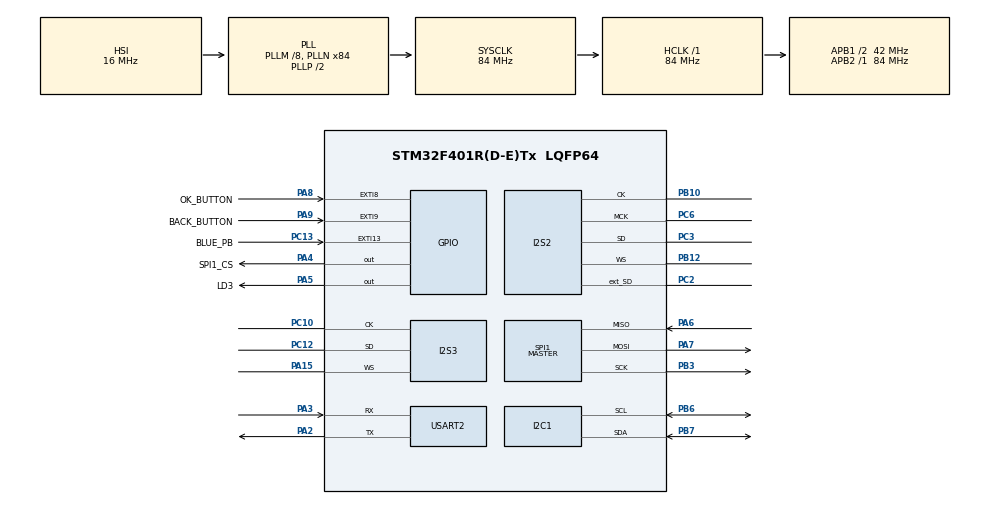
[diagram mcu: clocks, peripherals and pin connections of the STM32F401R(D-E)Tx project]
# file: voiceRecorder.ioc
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Dma.Request0=SPI2_TX
Dma.Request1=SPI3_RX
Dma.SPI2_TX.0.Direction=DMA_MEMORY_TO_PERIPH
Dma.SPI2_TX.0.FIFOMode=DMA_FIFOMODE_DISABLE
Dma.SPI2_TX.0.Instance=DMA1_Stream4
Dma.SPI2_TX.0.MemDataAlignment=DMA_MDATAALIGN_HALFWORD
Dma.SPI2_TX.0.MemInc=DMA_MINC_ENABLE
Dma.SPI2_TX.0.Mode=DMA_CIRCULAR
Dma.SPI2_TX.0.PeriphDataAlignment=DMA_PDATAALIGN_HALFWORD
Dma.SPI2_TX.0.PeriphInc=DMA_PINC_DISABLE
Dma.SPI2_TX.0.Priority=DMA_PRIORITY_LOW
Dma.SPI3_RX.1.Direction=DMA_PERIPH_TO_MEMORY
Dma.SPI3_RX.1.FIFOMode=DMA_FIFOMODE_DISABLE
Dma.SPI3_RX.1.Instance=DMA1_Stream0
Dma.SPI3_RX.1.MemDataAlignment=DMA_MDATAALIGN_HALFWORD
Dma.SPI3_RX.1.MemInc=DMA_MINC_ENABLE
Dma.SPI3_RX.1.Mode=DMA_CIRCULAR
Dma.SPI3_RX.1.PeriphDataAlignment=DMA_PDATAALIGN_HALFWORD
Dma.SPI3_RX.1.PeriphInc=DMA_PINC_DISABLE
Dma.SPI3_RX.1.Priority=DMA_PRIORITY_LOW
I2S2.AudioFreq=I2S_AUDIOFREQ_16K
I2S2.ErrorAudioFreq=1.9 %
I2S2.FullDuplexMode=I2S_FULLDUPLEXMODE_ENABLE
I2S2.Instance=SPI$Index
I2S2.RealAudioFreq=16.304 KHz
I2S2.VirtualMode=I2S_MODE_MASTER
I2S3.AudioFreq=I2S_AUDIOFREQ_32K
I2S3.DataFormat=I2S_DATAFORMAT_16B_EXTENDED
I2S3.ErrorAudioFreq=-0.26 %
I2S3.FullDuplexMode=I2S_FULLDUPLEXMODE_DISABLE
I2S3.Instance=SPI$Index
I2S3.Mode=I2S_MODE_MASTER_RX
I2S3.RealAudioFreq=31.914 KHz
I2S3.VirtualMode=I2S_MODE_MASTER
Mcu.Family=STM32F4
Mcu.Name=STM32F401R(D-E)Tx
Mcu.Package=LQFP64
NVIC.DMA1_Stream0_IRQn=true\:0\:0\:false\:false\:true\:false\:true\:true
NVIC.DMA1_Stream4_IRQn=true\:0\:0\:false\:false\:true\:false\:true\:true
NVIC.EXTI15_10_IRQn=true\:0\:0\:false\:false\:true\:true\:true\:true
NVIC.EXTI9_5_IRQn=true\:0\:0\:false\:false\:true\:true\:true\:true
NVIC.PriorityGroup=NVIC_PRIORITYGROUP_4
PA13.Mode=Serial_Wire
PA13.Signal=SYS_JTMS-SWDIO
PA14.Mode=Serial_Wire
PA14.Signal=SYS_JTCK-SWCLK
PA15.Mode=Half_Duplex_Master
PA15.Signal=I2S3_WS
PA2.Mode=Asynchronous
PA2.Signal=USART2_TX
PA3.Mode=Asynchronous
PA3.Signal=USART2_RX
PA4.GPIO_Label=SPI1_CS
PA4.GPIO_PuPd=GPIO_NOPULL
PA4.PinState=GPIO_PIN_SET
PA4.Signal=GPIO_Output
PA5.GPIO_Label=LD3
PA5.Signal=GPIO_Output
PA6.GPIO_PuPd=GPIO_NOPULL
PA6.Mode=Full_Duplex_Master
PA6.Signal=SPI1_MISO
PA7.GPIO_PuPd=GPIO_NOPULL
PA7.Mode=Full_Duplex_Master
PA7.Signal=SPI1_MOSI
PA8.GPIO_Label=OK_BUTTON
PA8.GPIO_ModeDefaultEXTI=GPIO_MODE_IT_FALLING
PA8.GPIO_PuPd=GPIO_PULLUP
PA8.Signal=GPXTI8
PA9.GPIO_Label=BACK_BUTTON
PA9.GPIO_ModeDefaultEXTI=GPIO_MODE_IT_FALLING
PA9.GPIO_PuPd=GPIO_PULLUP
PA9.Signal=GPXTI9
PB10.Mode=Full_Duplex_Master
PB10.Signal=I2S2_CK
PB12.Mode=Full_Duplex_Master
PB12.Signal=I2S2_WS
PB3.GPIO_PuPd=GPIO_NOPULL
PB3.Mode=Full_Duplex_Master
PB3.Signal=SPI1_SCK
PB6.Mode=I2C
PB6.Signal=I2C1_SCL
PB7.Mode=I2C
PB7.Signal=I2C1_SDA
PC10.Mode=Half_Duplex_Master
PC10.Signal=I2S3_CK
PC12.Mode=Half_Duplex_Master
PC12.Signal=I2S3_SD
PC13-ANTI_TAMP.GPIO_Label=BLUE_PB
PC13-ANTI_TAMP.GPIO_ModeDefaultEXTI=GPIO_MODE_IT_FALLING
PC13-ANTI_TAMP.GPIO_PuPd=GPIO_NOPULL
PC13-ANTI_TAMP.Signal=GPXTI13
PC14-OSC32_IN.Mode=LSE-External-Oscillator
PC14-OSC32_IN.Signal=RCC_OSC32_IN
PC15-OSC32_OUT.Mode=LSE-External-Oscillator
PC15-OSC32_OUT.Signal=RCC_OSC32_OUT
PC2.Mode=Full_Duplex_Master
PC2.Signal=I2S2_ext_SD
PC3.Mode=Full_Duplex_Master
PC3.Signal=I2S2_SD
PC6.Mode=Master_Clock_Activated
PC6.Signal=I2S2_MCK
PH0\ -\ OSC_IN.Mode=HSE-External-Oscillator
PH0\ -\ OSC_IN.Signal=RCC_OSC_IN
PH1\ -\ OSC_OUT.Mode=HSE-External-Oscillator
PH1\ -\ OSC_OUT.Signal=RCC_OSC_OUT
ProjectManager.HeapSize=0x200
ProjectManager.StackSize=0x400
ProjectManager.TargetToolchain=STM32CubeIDE
RCC.48MHZClocksFreq_Value=24000000
RCC.AHBFreq_Value=84000000
RCC.APB1CLKDivider=RCC_HCLK_DIV2
RCC.APB1Freq_Value=42000000
RCC.APB1TimFreq_Value=84000000
RCC.APB2Freq_Value=84000000
RCC.APB2TimFreq_Value=84000000
RCC.CortexFreq_Value=84000000
RCC.HCLKFreq_Value=84000000
RCC.HSE_VALUE=8000000
RCC.HSI_VALUE=16000000
RCC.PLLI2SN=96
RCC.PLLM=8
RCC.PLLN=84
RCC.PLLQ=7
RCC.SYSCLKFreq_VALUE=84000000
RCC.SYSCLKSource=RCC_SYSCLKSOURCE_PLLCLK
RCC.VCOOutputFreq_Value=168000000
SPI1.BaudRatePrescaler=SPI_BAUDRATEPRESCALER_16
SPI1.Direction=SPI_DIRECTION_2LINES
SPI1.Mode=SPI_MODE_MASTER
SPI1.VirtualType=VM_MASTER
USART2.VirtualMode=VM_ASYNC
VP_FATFS_VS_Generic.Mode=User_defined
board=NUCLEO-F401RE

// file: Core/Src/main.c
/* USER CODE BEGIN Header */
/**
  ******************************************************************************
  * @file           : main.c
  * @brief          : Main program body
  ******************************************************************************
  * @attention
  *
  * Copyright (c) 2025 STMicroelectronics.
  * All rights reserved.
  *
  * This software is licensed under terms that can be found in the LICENSE file
  * in the root directory of this software component.
  * If no LICENSE file comes with this software, it is provided AS-IS.
  *
  ******************************************************************************
  */
/* USER CODE END Header */
#include "main.h"
#include "fatfs.h"

/* USER CODE BEGIN Includes */
#include <string.h>
#include <stdio.h>
#include <stdarg.h>
#include "audio.h"

/* USER CODE END Includes */

I2C_HandleTypeDef hi2c1;

I2S_HandleTypeDef hi2s2;
I2S_HandleTypeDef hi2s3;
DMA_HandleTypeDef hdma_spi2_tx;
DMA_HandleTypeDef hdma_spi3_rx;

SPI_HandleTypeDef hspi1;

UART_HandleTypeDef huart2;

/* USER CODE BEGIN PV */

extern volatile uint8_t button_flag, start_stop_recording, done_recording;
extern volatile CallBack_Result_t callback_result;
extern uint8_t playback;
extern volatile uint8_t half_i2s, full_i2s;
extern volatile int16_t mono_sample_i2s[WAV_WRITE_SAMPLE_COUNT];
extern int16_t data_i2s[WAV_WRITE_SAMPLE_COUNT*2];
extern uint32_t played_size;
extern char playbackFile[];
extern char recordingFile[];
extern uint8_t donePlayback;
/* USER CODE END PV */

void SystemClock_Config(void);
void PeriphCommonClock_Config(void);
static void MX_GPIO_Init(void);
static void MX_DMA_Init(void);
static void MX_USART2_UART_Init(void);
static void MX_SPI1_Init(void);
static void MX_I2S2_Init(void);
static void MX_I2S3_Init(void);
static void MX_I2C1_Init(void);
/* USER CODE BEGIN PFP */

void HAL_I2S_TxHalfCpltCallback(I2S_HandleTypeDef * hi2s);
void HAL_I2S_TxCpltCallback(I2S_HandleTypeDef * hi2s);

/* USER CODE END PFP */

/* USER CODE BEGIN 0 */

void HAL_GPIO_EXTI_Callback(uint16_t GPIO_Pin)
{
    if (GPIO_Pin == GPIO_PIN_13)  // Replace with your pin
    {
        // Your interrupt handling code here
    	char str[] = "button pressed \r\n";
    	HAL_UART_Transmit(&huart2, (const uint8_t*) str, strlen(str), HAL_MAX_DELAY);

    	button_flag = 1;

    }

    if (GPIO_Pin == GPIO_PIN_9)  // Replace with your pin
    {
        // Your interrupt handling code here
    	char str[] = "BACK BUTTON pressed \r\n";
    	HAL_UART_Transmit(&huart2, (const uint8_t*) str, strlen(str), HAL_MAX_DELAY);

    }

    if (GPIO_Pin == GPIO_PIN_8)  // Replace with your pin
    {
        // Your interrupt handling code here
    	char str[] = "OK BUTTON pressed \r\n";
    	HAL_UART_Transmit(&huart2, (const uint8_t*) str, strlen(str), HAL_MAX_DELAY);

    }
}

int _write(int file, char *ptr, int len) {
    HAL_UART_Transmit(&huart2, (uint8_t*)ptr, len, HAL_MAX_DELAY);
    return len;
}

/* USER CODE END 0 */

int main(void)
{

  /* MCU Configuration--------------------------------------------------------*/

  /* Reset of all peripherals, Initializes the Flash interface and the Systick. */
  HAL_Init();

  /* Configure the system clock */
  SystemClock_Config();

  /* Configure the peripherals common clocks */
  PeriphCommonClock_Config();

  /* Initialize all configured peripherals */
  MX_GPIO_Init();
  MX_DMA_Init();
  MX_USART2_UART_Init();
  MX_SPI1_Init();
  MX_FATFS_Init();
  MX_I2S2_Init();
  MX_I2S3_Init();
  MX_I2C1_Init();
  /* USER CODE BEGIN 2 */

  printf("starting...\r\n");
  HAL_Delay(500);

//  sd_card_init();

//  testSDCard();
//
//
//  playback = 0;
//
//  printf("about to go into recording loop: \r\n");
//  while (!done_recording){
//	  handle_recording_main();
//  }
//
//
////  MX_I2S2_Init();
//
//  printf("done recording, saved to file %s", recordingFile);
//
//  playback = 1;
//
//  SDcardPlaySetup(0);	// 0 means play playBackFile, 1 means play test song
//
//  printf("done setup, about to play file %s \r\n", playbackFile);
//
//
//  while (!donePlayback){
//	  handleSDCardPlayback();
//  }
//
//  printf("done everything\r\n");
//  while(1);

  /* USER CODE END 2 */

  /* Infinite loop */
  /* USER CODE BEGIN WHILE */
  while (1)
  {
	  ssd1306_TestAll();

    /* USER CODE END WHILE */

  }
}

void SystemClock_Config(void)
{
  RCC_OscInitTypeDef RCC_OscInitStruct = {0};
  RCC_ClkInitTypeDef RCC_ClkInitStruct = {0};

  /** Configure the main internal regulator output voltage
  */
  __HAL_RCC_PWR_CLK_ENABLE();
  __HAL_PWR_VOLTAGESCALING_CONFIG(PWR_REGULATOR_VOLTAGE_SCALE2);

  /** Initializes the RCC Oscillators according to the specified parameters
  * in the RCC_OscInitTypeDef structure.
  */
  RCC_OscInitStruct.OscillatorType = RCC_OSCILLATORTYPE_HSI;
  RCC_OscInitStruct.HSIState = RCC_HSI_ON;
  RCC_OscInitStruct.HSICalibrationValue = RCC_HSICALIBRATION_DEFAULT;
  RCC_OscInitStruct.PLL.PLLState = RCC_PLL_ON;
  RCC_OscInitStruct.PLL.PLLSource = RCC_PLLSOURCE_HSI;
  RCC_OscInitStruct.PLL.PLLM = 8;
  RCC_OscInitStruct.PLL.PLLN = 84;
  RCC_OscInitStruct.PLL.PLLP = RCC_PLLP_DIV2;
  RCC_OscInitStruct.PLL.PLLQ = 7;
  if (HAL_RCC_OscConfig(&RCC_OscInitStruct) != HAL_OK)
  {
    Error_Handler();
  }

  /** Initializes the CPU, AHB and APB buses clocks
  */
  RCC_ClkInitStruct.ClockType = RCC_CLOCKTYPE_HCLK|RCC_CLOCKTYPE_SYSCLK
                              |RCC_CLOCKTYPE_PCLK1|RCC_CLOCKTYPE_PCLK2;
  RCC_ClkInitStruct.SYSCLKSource = RCC_SYSCLKSOURCE_PLLCLK;
  RCC_ClkInitStruct.AHBCLKDivider = RCC_SYSCLK_DIV1;
  RCC_ClkInitStruct.APB1CLKDivider = RCC_HCLK_DIV2;
  RCC_ClkInitStruct.APB2CLKDivider = RCC_HCLK_DIV1;

  if (HAL_RCC_ClockConfig(&RCC_ClkInitStruct, FLASH_LATENCY_2) != HAL_OK)
  {
    Error_Handler();
  }
}

void PeriphCommonClock_Config(void)
{
  RCC_PeriphCLKInitTypeDef PeriphClkInitStruct = {0};

  /** Initializes the peripherals clock
  */
  PeriphClkInitStruct.PeriphClockSelection = RCC_PERIPHCLK_I2S;
  PeriphClkInitStruct.PLLI2S.PLLI2SN = 96;
  PeriphClkInitStruct.PLLI2S.PLLI2SR = 2;
  if (HAL_RCCEx_PeriphCLKConfig(&PeriphClkInitStruct) != HAL_OK)
  {
    Error_Handler();
  }
}

static void MX_I2C1_Init(void)
{

  hi2c1.Instance = I2C1;
  hi2c1.Init.ClockSpeed = 100000;
  hi2c1.Init.DutyCycle = I2C_DUTYCYCLE_2;
  hi2c1.Init.OwnAddress1 = 0;
  hi2c1.Init.AddressingMode = I2C_ADDRESSINGMODE_7BIT;
  hi2c1.Init.DualAddressMode = I2C_DUALADDRESS_DISABLE;
  hi2c1.Init.OwnAddress2 = 0;
  hi2c1.Init.GeneralCallMode = I2C_GENERALCALL_DISABLE;
  hi2c1.Init.NoStretchMode = I2C_NOSTRETCH_DISABLE;
  if (HAL_I2C_Init(&hi2c1) != HAL_OK)
  {
    Error_Handler();
  }

}

static void MX_I2S2_Init(void)
{

  hi2s2.Instance = SPI2;
  hi2s2.Init.Mode = I2S_MODE_MASTER_TX;
  hi2s2.Init.Standard = I2S_STANDARD_PHILIPS;
  hi2s2.Init.DataFormat = I2S_DATAFORMAT_16B;
  hi2s2.Init.MCLKOutput = I2S_MCLKOUTPUT_ENABLE;
  hi2s2.Init.AudioFreq = I2S_AUDIOFREQ_16K;
  hi2s2.Init.CPOL = I2S_CPOL_LOW;
  hi2s2.Init.ClockSource = I2S_CLOCK_PLL;
  hi2s2.Init.FullDuplexMode = I2S_FULLDUPLEXMODE_ENABLE;
  if (HAL_I2S_Init(&hi2s2) != HAL_OK)
  {
    Error_Handler();
  }

}

static void MX_I2S3_Init(void)
{

  hi2s3.Instance = SPI3;
  hi2s3.Init.Mode = I2S_MODE_MASTER_RX;
  hi2s3.Init.Standard = I2S_STANDARD_PHILIPS;
  hi2s3.Init.DataFormat = I2S_DATAFORMAT_16B_EXTENDED;
  hi2s3.Init.MCLKOutput = I2S_MCLKOUTPUT_DISABLE;
  hi2s3.Init.AudioFreq = I2S_AUDIOFREQ_32K;
  hi2s3.Init.CPOL = I2S_CPOL_LOW;
  hi2s3.Init.ClockSource = I2S_CLOCK_PLL;
  hi2s3.Init.FullDuplexMode = I2S_FULLDUPLEXMODE_DISABLE;
  if (HAL_I2S_Init(&hi2s3) != HAL_OK)
  {
    Error_Handler();
  }

}

static void MX_SPI1_Init(void)
{

  /* SPI1 parameter configuration*/
  hspi1.Instance = SPI1;
  hspi1.Init.Mode = SPI_MODE_MASTER;
  hspi1.Init.Direction = SPI_DIRECTION_2LINES;
  hspi1.Init.DataSize = SPI_DATASIZE_8BIT;
  hspi1.Init.CLKPolarity = SPI_POLARITY_LOW;
  hspi1.Init.CLKPhase = SPI_PHASE_1EDGE;
  hspi1.Init.NSS = SPI_NSS_SOFT;
  hspi1.Init.BaudRatePrescaler = SPI_BAUDRATEPRESCALER_16;
  hspi1.Init.FirstBit = SPI_FIRSTBIT_MSB;
  hspi1.Init.TIMode = SPI_TIMODE_DISABLE;
  hspi1.Init.CRCCalculation = SPI_CRCCALCULATION_DISABLE;
  hspi1.Init.CRCPolynomial = 10;
  if (HAL_SPI_Init(&hspi1) != HAL_OK)
  {
    Error_Handler();
  }

}

static void MX_USART2_UART_Init(void)
{

  huart2.Instance = USART2;
  huart2.Init.BaudRate = 115200;
  huart2.Init.WordLength = UART_WORDLENGTH_8B;
  huart2.Init.StopBits = UART_STOPBITS_1;
  huart2.Init.Parity = UART_PARITY_NONE;
  huart2.Init.Mode = UART_MODE_TX_RX;
  huart2.Init.HwFlowCtl = UART_HWCONTROL_NONE;
  huart2.Init.OverSampling = UART_OVERSAMPLING_16;
  if (HAL_UART_Init(&huart2) != HAL_OK)
  {
    Error_Handler();
  }

}

static void MX_DMA_Init(void)
{

  /* DMA controller clock enable */
  __HAL_RCC_DMA1_CLK_ENABLE();

  /* DMA interrupt init */
  /* DMA1_Stream0_IRQn interrupt configuration */
  HAL_NVIC_SetPriority(DMA1_Stream0_IRQn, 0, 0);
  HAL_NVIC_EnableIRQ(DMA1_Stream0_IRQn);
  /* DMA1_Stream4_IRQn interrupt configuration */
  HAL_NVIC_SetPriority(DMA1_Stream4_IRQn, 0, 0);
  HAL_NVIC_EnableIRQ(DMA1_Stream4_IRQn);

}

static void MX_GPIO_Init(void)
{
  GPIO_InitTypeDef GPIO_InitStruct = {0};

  /* GPIO Ports Clock Enable */
  __HAL_RCC_GPIOC_CLK_ENABLE();
  __HAL_RCC_GPIOH_CLK_ENABLE();
  __HAL_RCC_GPIOA_CLK_ENABLE();
  __HAL_RCC_GPIOB_CLK_ENABLE();

  /*Configure GPIO pin Output Level */
  HAL_GPIO_WritePin(SPI1_CS_GPIO_Port, SPI1_CS_Pin, GPIO_PIN_SET);

  /*Configure GPIO pin Output Level */
  HAL_GPIO_WritePin(LD3_GPIO_Port, LD3_Pin, GPIO_PIN_RESET);

  /*Configure GPIO pin : BLUE_PB_Pin */
  GPIO_InitStruct.Pin = BLUE_PB_Pin;
  GPIO_InitStruct.Mode = GPIO_MODE_IT_FALLING;
  GPIO_InitStruct.Pull = GPIO_NOPULL;
  HAL_GPIO_Init(BLUE_PB_GPIO_Port, &GPIO_InitStruct);

  /*Configure GPIO pins : SPI1_CS_Pin LD3_Pin */
  GPIO_InitStruct.Pin = SPI1_CS_Pin|LD3_Pin;
  GPIO_InitStruct.Mode = GPIO_MODE_OUTPUT_PP;
  GPIO_InitStruct.Pull = GPIO_NOPULL;
  GPIO_InitStruct.Speed = GPIO_SPEED_FREQ_LOW;
  HAL_GPIO_Init(GPIOA, &GPIO_InitStruct);

  /*Configure GPIO pins : OK_BUTTON_Pin BACK_BUTTON_Pin */
  GPIO_InitStruct.Pin = OK_BUTTON_Pin|BACK_BUTTON_Pin;
  GPIO_InitStruct.Mode = GPIO_MODE_IT_FALLING;
  GPIO_InitStruct.Pull = GPIO_PULLUP;
  HAL_GPIO_Init(GPIOA, &GPIO_InitStruct);

  /* EXTI interrupt init*/
  HAL_NVIC_SetPriority(EXTI9_5_IRQn, 0, 0);
  HAL_NVIC_EnableIRQ(EXTI9_5_IRQn);

  HAL_NVIC_SetPriority(EXTI15_10_IRQn, 0, 0);
  HAL_NVIC_EnableIRQ(EXTI15_10_IRQn);

}

/* USER CODE BEGIN 4 */

void HAL_I2S_TxHalfCpltCallback(I2S_HandleTypeDef * hi2s){
	callback_result = HALF_COMPLETED;
	printf("HALF callback\r\n");

}

void HAL_I2S_TxCpltCallback(I2S_HandleTypeDef * hi2s){

	// whenever called, 32000 samples already got played
	callback_result = FULL_COMPLETED;
//	played_size += WAV_READ_SAMPLE_COUNT;
	printf("FULL callback\r\n");

}

void HAL_I2S_RxCpltCallback(I2S_HandleTypeDef * hi2s){
	for (int i = 0; i < WAV_WRITE_SAMPLE_COUNT/2; i++) {
	    mono_sample_i2s[i] = data_i2s[2 * i];  // Keep every other (left)
	}

	full_i2s = 1;
}

void HAL_I2S_RxHalfCpltCallback(I2S_HandleTypeDef * hi2s){
	for (int i = 0; i < WAV_WRITE_SAMPLE_COUNT/2; i++) {
	    mono_sample_i2s[WAV_WRITE_SAMPLE_COUNT/2 + i] = data_i2s[WAV_WRITE_SAMPLE_COUNT + 2 * i];  // Second half
	}
	half_i2s = 1;
}

/* USER CODE END 4 */

void Error_Handler(void)
{
  __disable_irq();
  while (1)
  {
  }
}
